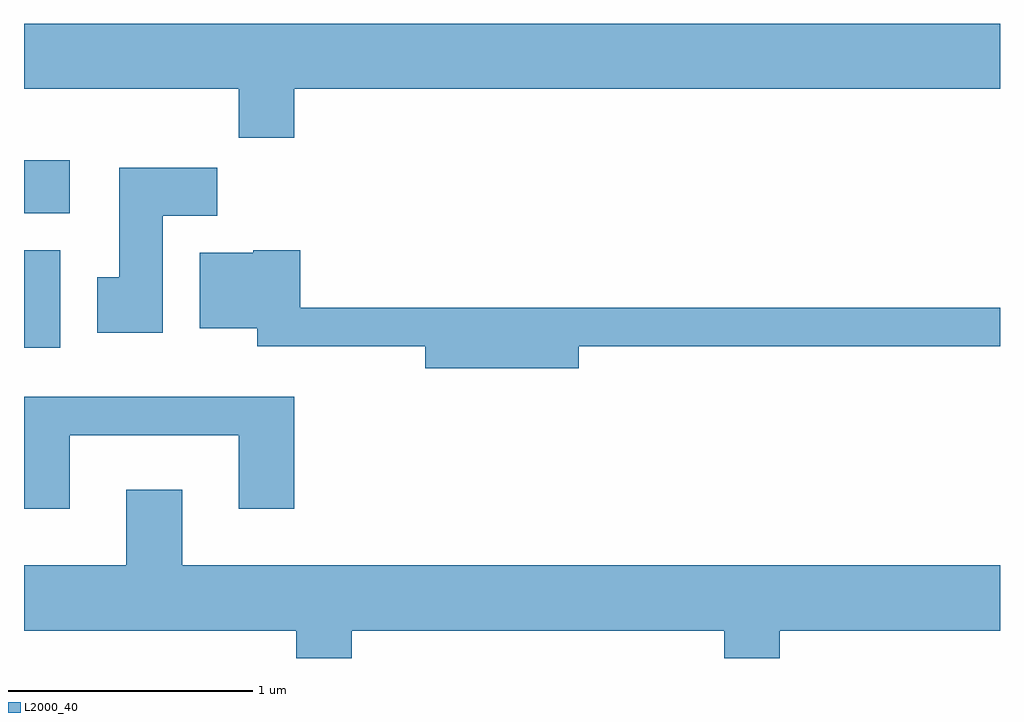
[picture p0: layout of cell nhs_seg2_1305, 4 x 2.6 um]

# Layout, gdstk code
import gdstk
lib = gdstk.Library(unit=1e-6, precision=1e-09)
def R(c, l, rs):  # rectangles x0, y0, x1, y1
    for r in rs: c.add(gdstk.rectangle(r[:2], r[2:], *l))
def P(c, l, *ps):  # polygons
    for p in ps: c.add(gdstk.Polygon(p, *l))
L2000_40 = (2000, 40)

nhs_seg2_1305 = lib.new_cell('nhs_seg2_1305')
R(nhs_seg2_1305, L2000_40, [(223.611,1005.076,223.759,1005.474), (223.611,1005.626,223.799,1005.844)])
P(nhs_seg2_1305, L2000_40, [(224.719,1006.136),(227.611,1006.136),(227.611,1006.404),(223.611,1006.404),(223.611,1006.136),(224.491,1006.136),(224.491,1005.936),(224.719,1005.936)],
  [(224.179,1005.616),(224.404,1005.616),(224.404,1005.814),(224.001,1005.814),(224.001,1005.364),(223.911,1005.364),(223.911,1005.136),(224.179,1005.136)],
  [(225.884,1005.081),(227.611,1005.081),(227.611,1005.239),(224.744,1005.239),(224.744,1005.474),(224.55,1005.474),(224.55,1005.464),(224.331,1005.464),(224.331,1005.156),(224.566,1005.156),(224.566,1005.081),(225.256,1005.081),(225.256,1004.991),(225.884,1004.991)],
  [(223.799,1004.716),(224.491,1004.716),(224.491,1004.416),(224.719,1004.416),(224.719,1004.874),(223.611,1004.874),(223.611,1004.416),(223.799,1004.416)],
  [(224.954,1003.916),(226.481,1003.916),(226.481,1003.802),(226.709,1003.802),(226.709,1003.916),(227.611,1003.916),(227.611,1004.184),(224.259,1004.184),(224.259,1004.494),(224.031,1004.494),(224.031,1004.184),(223.611,1004.184),(223.611,1003.916),(224.726,1003.916),(224.726,1003.802),(224.954,1003.802)])

lib.write_gds('nhs_seg2_1305.gds')
